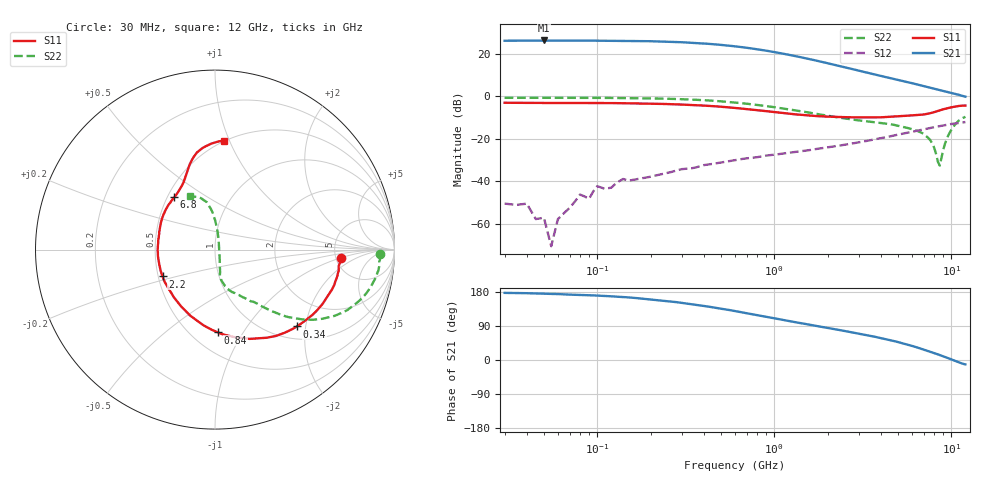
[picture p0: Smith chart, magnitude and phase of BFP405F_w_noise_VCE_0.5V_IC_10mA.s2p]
! Infineon Technologies  Discrete & RF Semiconductors
! BFP405F
! VCE =  0.5 V,  IC =  10 mA
! Common Emitter S-Parameters:  Nov 2015
# GHz  S  MA  R  50
!  f  S11  S21  S12  S22
! GHz  MAG  ANG  MAG  ANG  MAG  ANG  MAG  ANG
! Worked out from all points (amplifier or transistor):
!   239 points, 30 MHz to 12 GHz, reference 50 ohm
!   highest |S21| = 26.2 dB at 50 MHz (marker M1)
!   |S21| within 3 dB of that: start of sweep to 634.4 MHz
!   unconditionally stable (mu >= 1): 40.79 MHz to 59.73 MHz; 1.653 GHz to end of sweep
!   at 300 MHz: K = 0.30, MSG = 29.8 dB, |S12| = -34.2 dB
!   at 1.88 GHz: K = 1.08, MAG = 18.5 dB, |S12| = -24.4 dB
!   at 12 GHz: K = 1.46, MAG = 1.9 dB, |S12| = -12.1 dB
!   lowest NFmin = 1.67 dB at 450 MHz
!   S11 on the Smith chart (normalised r, x): 30 MHz: 5.54, -1.08; 340 MHz: 1.27, -1.79; 840 MHz: 0.67, -0.78; 2.2 GHz: 0.53, -0.18; 6.8 GHz: 0.54, +0.37; 12 GHz: 0.50, +0.95
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0.03  0.7042 -4.0  20.24 177.1  0.003 103.8  0.92 -1.5
0.05  0.6952 -7.4  20.52 174.8  0.0014 -56.7  0.9204 -3.2
0.055  0.6953 -7.6  20.45 174.4  0.0003 -124.7  0.9205 -3.4
0.06  0.6954 -7.8  20.37 174.0  0.0013 148.1  0.9206 -3.6
0.085  0.6973 -11.6  20.31 171.3  0.0044 72.8  0.9195 -5.5
0.15  0.6838 -20.5  20.04 165.2  0.0104 75.6  0.9079 -10.1
0.24  0.66 -31.5  19.23 156.3  0.0152 78.4  0.8794 -15.8
0.34  0.6257 -43.2  18.11 147.5  0.0203 72.2  0.8368 -21.4
0.45  0.5888 -54.8  16.81 138.9  0.0258 67.4  0.7862 -26.8
0.6  0.5333 -68.9  14.93 129.0  0.0318 62.8  0.7113 -32.8
0.7  0.5003 -77.3  13.81 123.4  0.0349 60.9  0.6685 -35.8
0.84  0.4622 -87.8  12.35 116.7  0.0384 58.0  0.6106 -39.3
1.2  0.3927 -110.7  9.498 103.2  0.0469 54.8  0.4954 -45.7
1.64  0.3486 -131.9  7.24 91.9  0.0558 53.5  0.402 -50.9
2.2  0.328 -152.9  5.463 81.0  0.0674 52.1  0.3275 -57.3
3.2  0.3187 -177.4  3.751 67.1  0.0869 51.0  0.2628 -66.4
4.5  0.3284 159.7  2.68 52.6  0.1144 47.3  0.2209 -73.3
6.8  0.3698 128.0  1.792 29.2  0.1636 36.7  0.1384 -78.6
7.8  0.4113 115.5  1.559 20.1  0.1839 31.7  0.0776 -69.3
8.6  0.4675 109.0  1.411 13.1  0.1992 26.9  0.0235 14.6
9.8  0.5403 101.7  1.231 3.2  0.22 20.0  0.1411 87.6
12  0.6064 85.4  0.979 -11.6  0.2486 9.7  0.3287 115.6
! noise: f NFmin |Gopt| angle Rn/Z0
0.45  1.67  0.21  5  0.32
0.9  1.68  0.19  9  0.33
1.5  1.74  0.17  15  0.25
1.9  1.78  0.16  21  0.29
2.4  1.91  0.14  28  0.36
3  1.99  0.12  42  0.35
3.5  2.04  0.1  48  0.34
4.5  2.21  0.08  46  0.2
5.5  2.42  0.04  37  0.06
